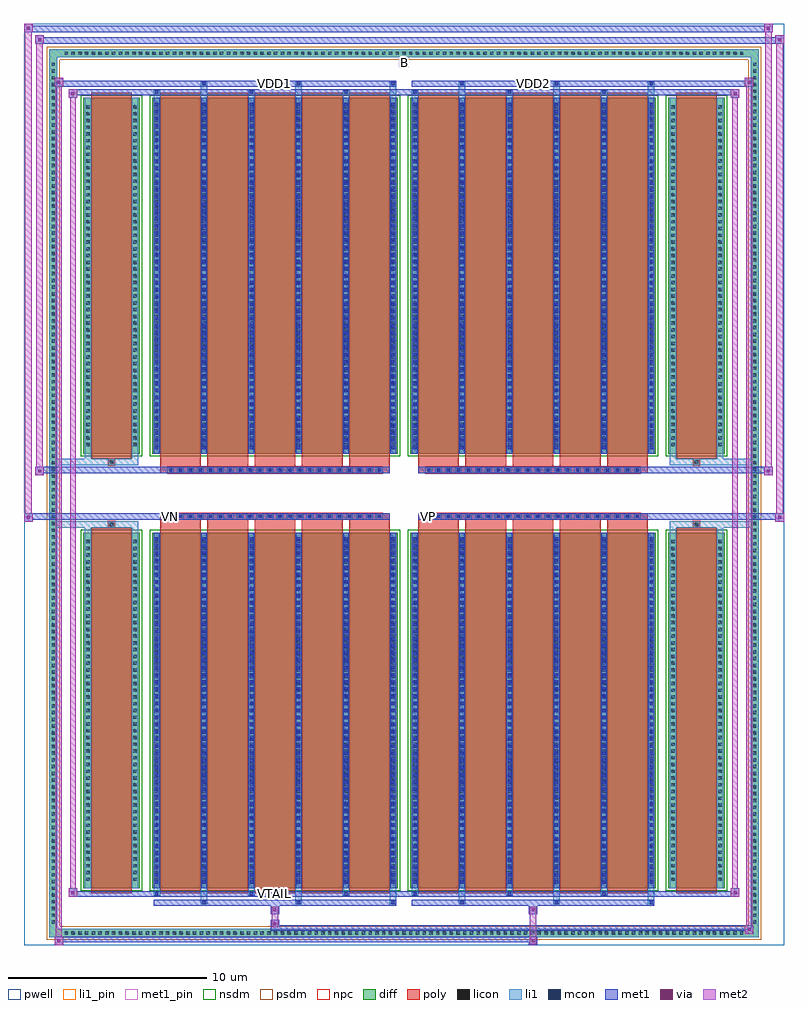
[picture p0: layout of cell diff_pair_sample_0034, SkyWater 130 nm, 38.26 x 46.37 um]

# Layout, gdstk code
import gdstk
lib = gdstk.Library(unit=1e-6, precision=5e-09)
def R(c, l, rs):  # rectangles x0, y0, x1, y1
    for r in rs: c.add(gdstk.rectangle(r[:2], r[2:], *l))
def A(c, l, x, y, w, h, nx, ny, dx, dy):  # array of equal rectangles
    R(c, l, [(x+i*dx, y+j*dy, x+i*dx+w, y+j*dy+h) for i in range(nx) for j in range(ny)])
def P(c, l, *ps):  # polygons
    for p in ps: c.add(gdstk.Polygon(p, *l))
pwell = (64, 44)
diff = (65, 20)
poly = (66, 20)
licon = (66, 44)
li1_pin = (67, 16)
li1 = (67, 20)
mcon = (67, 44)
met1_pin = (68, 16)
met1 = (68, 20)
via = (68, 44)
met2 = (69, 20)
nsdm = (93, 44)
psdm = (94, 20)
npc = (95, 20)

diff_pair_sample_0034 = lib.new_cell('diff_pair_sample_0034')
R(diff_pair_sample_0034, pwell, [(-19.13,-22.75,19.13,23.62), (-16.45,-20.94,-0.01,-0.8), (0.01,-20.94,16.45,-0.8), (-16.45,0.8,-0.01,20.94), (0.01,0.8,16.45,20.94)])
A(diff_pair_sample_0034, diff, -17.205, -22.35, 0.41, 0.41, 101, 2, 0.34, 44.29)
A(diff_pair_sample_0034, diff, -17.86, -21.795, 0.41, 0.41, 1, 128, 0, 0.34)
A(diff_pair_sample_0034, diff, 17.45, -21.795, 0.41, 0.41, 1, 128, 0, 0.34)
R(diff_pair_sample_0034, diff, [(-17.205,-22.35,17.205,-21.94), (-17.86,-21.795,-17.45,21.795), (17.45,-21.795,17.86,21.795), (-16.14,-19.895,-13.31,-1.985), (-12.67,-19.895,-0.32,-1.985), (0.32,-19.895,12.67,-1.985), (13.31,-19.895,16.14,-1.985), (-16.14,1.985,-13.31,19.895), (-12.67,1.985,-0.32,19.895), (0.32,1.985,12.67,19.895), (13.31,1.985,16.14,19.895), (-17.205,21.94,17.205,22.35)])
P(diff_pair_sample_0034, diff, [(17.86,22.35),(-17.86,22.35),(-17.86,-21.94),(-17.45,-21.94),(-17.45,21.94),(17.45,21.94),(17.45,-21.94),(-17.45,-21.94),(-17.86,-21.94),(-17.86,-22.35),(17.86,-22.35)])
A(diff_pair_sample_0034, poly, -12.28, -20.145, 2.05, 18.41, 5, 2, 2.38, 21.88)
A(diff_pair_sample_0034, poly, 0.71, -20.145, 2.05, 18.41, 5, 2, 2.38, 21.88)
A(diff_pair_sample_0034, poly, -12.28, -1.735, 2.05, 0.405, 5, 2, 2.38, 3.065)
A(diff_pair_sample_0034, poly, 0.71, -1.735, 2.05, 0.405, 5, 2, 2.38, 3.065)
A(diff_pair_sample_0034, poly, -11.91, -1.33, 0.33, 0.33, 22, 2, 0.5, 2.33)
A(diff_pair_sample_0034, poly, 1.08, -1.33, 0.33, 0.33, 22, 2, 0.5, 2.33)
R(diff_pair_sample_0034, poly, [(-15.75,-20.145,-13.7,-1.735), (13.7,-20.145,15.75,-1.735), (-14.89,-1.735,-14.56,-1.405), (-14.89,-1.735,-14.56,-1.405), (14.56,-1.735,14.89,-1.405), (14.56,-1.735,14.89,-1.405), (-12.28,-1.33,-0.71,-1), (0.71,-1.33,12.28,-1), (-12.28,1,-0.71,1.33), (0.71,1,12.28,1.33), (-14.89,1.405,-14.56,1.735), (-14.89,1.405,-14.56,1.735), (14.56,1.405,14.89,1.735), (14.56,1.405,14.89,1.735), (-15.75,1.735,-13.7,20.145), (13.7,1.735,15.75,20.145)])
A(diff_pair_sample_0034, licon, -17.085, -22.23, 0.17, 0.17, 101, 2, 0.34, 44.29)
A(diff_pair_sample_0034, licon, -17.74, -21.675, 0.17, 0.17, 1, 128, 0, 0.34)
A(diff_pair_sample_0034, licon, 17.57, -21.675, 0.17, 0.17, 1, 128, 0, 0.34)
A(diff_pair_sample_0034, licon, -16, -19.525, 0.17, 0.17, 1, 51, 0, 0.34)
A(diff_pair_sample_0034, licon, -13.62, -19.525, 0.17, 0.17, 1, 51, 0, 0.34)
A(diff_pair_sample_0034, licon, -12.53, -19.525, 0.17, 0.17, 6, 51, 2.38, 0.34)
A(diff_pair_sample_0034, licon, 0.46, -19.525, 0.17, 0.17, 6, 51, 2.38, 0.34)
A(diff_pair_sample_0034, licon, 13.45, -19.525, 0.17, 0.17, 1, 51, 0, 0.34)
A(diff_pair_sample_0034, licon, 15.83, -19.525, 0.17, 0.17, 1, 51, 0, 0.34)
A(diff_pair_sample_0034, licon, -11.83, -1.25, 0.17, 0.17, 22, 2, 0.5, 2.33)
A(diff_pair_sample_0034, licon, 1.16, -1.25, 0.17, 0.17, 22, 2, 0.5, 2.33)
A(diff_pair_sample_0034, licon, -16, 2.355, 0.17, 0.17, 1, 51, 0, 0.34)
A(diff_pair_sample_0034, licon, -13.62, 2.355, 0.17, 0.17, 1, 51, 0, 0.34)
A(diff_pair_sample_0034, licon, -12.53, 2.355, 0.17, 0.17, 6, 51, 2.38, 0.34)
A(diff_pair_sample_0034, licon, 0.46, 2.355, 0.17, 0.17, 6, 51, 2.38, 0.34)
A(diff_pair_sample_0034, licon, 13.45, 2.355, 0.17, 0.17, 1, 51, 0, 0.34)
A(diff_pair_sample_0034, licon, 15.83, 2.355, 0.17, 0.17, 1, 51, 0, 0.34)
R(diff_pair_sample_0034, licon, [(-14.81,-1.655,-14.64,-1.485), (14.64,-1.655,14.81,-1.485), (-14.81,1.485,-14.64,1.655), (14.64,1.485,14.81,1.655)])
R(diff_pair_sample_0034, li1_pin, [(-0.25,21.44,0.25,21.94)])
A(diff_pair_sample_0034, li1, -17.165, -22.31, 0.33, 0.33, 101, 2, 0.34, 44.29)
A(diff_pair_sample_0034, li1, -17.82, -21.755, 0.33, 0.33, 1, 128, 0, 0.34)
A(diff_pair_sample_0034, li1, 17.49, -21.755, 0.33, 0.33, 1, 128, 0, 0.34)
A(diff_pair_sample_0034, li1, -10.23, -20.7, 0.33, 0.805, 3, 2, 4.76, 40.595)
A(diff_pair_sample_0034, li1, -10.15, -20.7, 0.17, 0.17, 3, 2, 4.76, 41.23)
A(diff_pair_sample_0034, li1, 2.76, -20.7, 0.33, 0.805, 3, 2, 4.76, 40.595)
A(diff_pair_sample_0034, li1, 2.84, -20.7, 0.17, 0.17, 3, 2, 4.76, 41.23)
A(diff_pair_sample_0034, li1, -12.61, -20.27, 0.33, 0.375, 3, 2, 4.76, 40.165)
A(diff_pair_sample_0034, li1, -12.53, -20.27, 0.17, 0.17, 3, 2, 4.76, 40.37)
A(diff_pair_sample_0034, li1, 0.38, -20.27, 0.33, 0.375, 3, 2, 4.76, 40.165)
A(diff_pair_sample_0034, li1, 0.46, -20.27, 0.17, 0.17, 3, 2, 4.76, 40.37)
A(diff_pair_sample_0034, li1, -12.61, -19.895, 0.33, 17.91, 6, 2, 2.38, 21.88)
A(diff_pair_sample_0034, li1, 0.38, -19.895, 0.33, 17.91, 6, 2, 2.38, 21.88)
A(diff_pair_sample_0034, li1, -12.53, -19.665, 0.17, 0.17, 6, 49, 2.38, 0.36)
A(diff_pair_sample_0034, li1, -12.53, -19.665, 0.17, 17.45, 6, 2, 2.38, 21.88)
A(diff_pair_sample_0034, li1, 0.46, -19.665, 0.17, 0.17, 6, 49, 2.38, 0.36)
A(diff_pair_sample_0034, li1, 0.46, -19.665, 0.17, 17.45, 6, 2, 2.38, 21.88)
A(diff_pair_sample_0034, li1, -16.08, -19.605, 0.33, 0.33, 1, 51, 0, 0.34)
A(diff_pair_sample_0034, li1, -13.7, -19.605, 0.33, 0.33, 1, 51, 0, 0.34)
A(diff_pair_sample_0034, li1, -12.61, -19.605, 0.33, 0.33, 6, 51, 2.38, 0.34)
A(diff_pair_sample_0034, li1, 0.38, -19.605, 0.33, 0.33, 6, 51, 2.38, 0.34)
A(diff_pair_sample_0034, li1, 13.37, -19.605, 0.33, 0.33, 1, 51, 0, 0.34)
A(diff_pair_sample_0034, li1, 15.75, -19.605, 0.33, 0.33, 1, 51, 0, 0.34)
A(diff_pair_sample_0034, li1, -11.91, -1.33, 0.33, 0.33, 22, 2, 0.5, 2.33)
A(diff_pair_sample_0034, li1, 1.08, -1.33, 0.33, 0.33, 22, 2, 0.5, 2.33)
A(diff_pair_sample_0034, li1, -12.53, 2.215, 0.17, 0.17, 6, 49, 2.38, 0.36)
A(diff_pair_sample_0034, li1, 0.46, 2.215, 0.17, 0.17, 6, 49, 2.38, 0.36)
A(diff_pair_sample_0034, li1, -16.08, 2.275, 0.33, 0.33, 1, 51, 0, 0.34)
A(diff_pair_sample_0034, li1, -13.7, 2.275, 0.33, 0.33, 1, 51, 0, 0.34)
A(diff_pair_sample_0034, li1, -12.61, 2.275, 0.33, 0.33, 6, 51, 2.38, 0.34)
A(diff_pair_sample_0034, li1, 0.38, 2.275, 0.33, 0.33, 6, 51, 2.38, 0.34)
A(diff_pair_sample_0034, li1, 13.37, 2.275, 0.33, 0.33, 1, 51, 0, 0.34)
A(diff_pair_sample_0034, li1, 15.75, 2.275, 0.33, 0.33, 1, 51, 0, 0.34)
R(diff_pair_sample_0034, li1, [(-17.86,-22.35,-17.45,-21.94), (-17.86,-22.35,-17.45,-21.94), (-17.45,-22.35,17.45,-21.94), (17.45,-22.35,17.86,-21.94), (17.45,-22.35,17.86,-21.94), (-17.86,-21.94,-17.45,21.94), (17.45,-21.94,17.86,21.94), (-16.08,-19.895,-15.75,-1.985), (-13.7,-19.895,-13.37,-1.985), (13.37,-19.895,13.7,-1.985), (15.75,-19.895,16.08,-1.985), (-16.08,-1.985,-15.75,-1.405), (-13.7,-1.985,-13.37,-1.405), (13.37,-1.985,13.7,-1.405), (15.75,-1.985,16.08,-1.405), (-17.86,-1.735,-14.89,-1.405), (-16.08,-1.735,-14.89,-1.405), (-14.89,-1.735,-14.56,-1.405), (-14.56,-1.735,-13.37,-1.405), (13.37,-1.735,14.56,-1.405), (14.56,-1.735,14.89,-1.405), (14.56,-1.735,17.86,-1.405), (14.89,-1.735,16.08,-1.405), (-17.86,1.405,-14.89,1.735), (-16.08,1.405,-14.89,1.735), (-16.08,1.405,-15.75,1.985), (-14.89,1.405,-14.56,1.735), (-14.56,1.405,-13.37,1.735), (-13.7,1.405,-13.37,1.985), (13.37,1.405,14.56,1.735), (13.37,1.405,13.7,1.985), (14.56,1.405,14.89,1.735), (14.56,1.405,17.86,1.735), (14.89,1.405,16.08,1.735), (15.75,1.405,16.08,1.985), (-16.08,1.985,-15.75,19.895), (-13.7,1.985,-13.37,19.895), (13.37,1.985,13.7,19.895), (15.75,1.985,16.08,19.895), (-17.86,21.94,-17.45,22.35), (-17.86,21.94,-17.45,22.35), (-17.45,21.94,17.45,22.35), (17.45,21.94,17.86,22.35), (17.45,21.94,17.86,22.35)])
A(diff_pair_sample_0034, mcon, -10.15, -20.7, 0.17, 0.17, 3, 2, 4.76, 41.23)
A(diff_pair_sample_0034, mcon, 2.84, -20.7, 0.17, 0.17, 3, 2, 4.76, 41.23)
A(diff_pair_sample_0034, mcon, -12.53, -20.27, 0.17, 0.17, 3, 2, 4.76, 40.37)
A(diff_pair_sample_0034, mcon, 0.46, -20.27, 0.17, 0.17, 3, 2, 4.76, 40.37)
A(diff_pair_sample_0034, mcon, -12.53, -19.665, 0.17, 0.17, 6, 49, 2.38, 0.36)
A(diff_pair_sample_0034, mcon, 0.46, -19.665, 0.17, 0.17, 6, 49, 2.38, 0.36)
A(diff_pair_sample_0034, mcon, -11.83, -1.25, 0.17, 0.17, 22, 2, 0.5, 2.33)
A(diff_pair_sample_0034, mcon, 1.16, -1.25, 0.17, 0.17, 22, 2, 0.5, 2.33)
A(diff_pair_sample_0034, mcon, -12.53, 2.215, 0.17, 0.17, 6, 49, 2.38, 0.36)
A(diff_pair_sample_0034, mcon, 0.46, 2.215, 0.17, 0.17, 6, 49, 2.38, 0.36)
R(diff_pair_sample_0034, met1_pin, [(-6.63,-20.31,-6.36,-20.04), (-11.88,-1.29,-11.61,-1.02), (1.11,-1.29,1.38,-1.02), (-6.63,20.49,-6.36,20.76), (6.36,20.49,6.63,20.76)])
A(diff_pair_sample_0034, met1, -10.21, -20.76, 0.29, 0.29, 3, 2, 4.76, 41.23)
A(diff_pair_sample_0034, met1, 2.78, -20.76, 0.29, 0.29, 3, 2, 4.76, 41.23)
A(diff_pair_sample_0034, met1, -12.59, -20.33, 0.29, 0.29, 3, 2, 4.76, 40.37)
A(diff_pair_sample_0034, met1, 0.4, -20.33, 0.29, 0.29, 3, 2, 4.76, 40.37)
A(diff_pair_sample_0034, met1, -12.59, -19.895, 0.29, 17.91, 6, 2, 2.38, 21.88)
A(diff_pair_sample_0034, met1, 0.4, -19.895, 0.29, 17.91, 6, 2, 2.38, 21.88)
A(diff_pair_sample_0034, met1, -12.59, -19.725, 0.29, 0.29, 6, 49, 2.38, 0.36)
A(diff_pair_sample_0034, met1, 0.4, -19.725, 0.29, 0.29, 6, 49, 2.38, 0.36)
A(diff_pair_sample_0034, met1, -11.89, -1.31, 0.29, 0.29, 22, 2, 0.5, 2.33)
A(diff_pair_sample_0034, met1, 1.1, -1.31, 0.29, 0.29, 22, 2, 0.5, 2.33)
A(diff_pair_sample_0034, met1, -12.59, 2.155, 0.29, 0.29, 6, 49, 2.38, 0.36)
A(diff_pair_sample_0034, met1, 0.4, 2.155, 0.29, 0.29, 6, 49, 2.38, 0.36)
R(diff_pair_sample_0034, met1, [(-17.59,-22.75,-17.16,-22.32), (6.28,-22.75,6.71,-22.32), (-17.59,-22.61,6.71,-22.32), (17.16,-22.18,17.59,-21.75), (-6.71,-22.04,17.59,-21.75), (-6.71,-21.9,-6.28,-21.47), (-6.71,-21.19,-6.28,-20.76), (6.28,-21.19,6.71,-20.76), (-12.59,-20.76,-0.4,-20.47), (0.4,-20.76,12.59,-20.47), (-16.88,-20.33,-16.45,-19.9), (-16.88,-20.33,-12.59,-20.04), (-12.59,-20.33,-0.4,-20.04), (-0.4,-20.33,0.4,-20.04), (0.4,-20.33,12.59,-20.04), (12.59,-20.33,16.88,-20.04), (16.45,-20.33,16.88,-19.9), (-19.13,-1.43,-18.7,-1), (18.7,-1.43,19.13,-1), (-19.13,-1.33,-0.71,-1), (-12.28,-1.33,-0.71,-1), (0.71,-1.33,12.28,-1), (0.71,-1.33,19.13,-1), (-18.56,0.9,-18.13,1.33), (18.13,0.9,18.56,1.33), (-18.56,1,-12.28,1.33), (-12.28,1,-0.71,1.33), (0.71,1,12.28,1.33), (12.28,1,18.56,1.33), (-16.88,19.9,-16.45,20.33), (16.45,19.9,16.88,20.33), (-16.88,20.04,-12.59,20.33), (-12.59,20.04,-0.4,20.33), (-0.4,20.04,0.4,20.33), (0.4,20.04,12.59,20.33), (12.59,20.04,16.88,20.33), (-17.59,20.47,-17.16,20.9), (-17.59,20.47,-12.59,20.76), (-12.59,20.47,-0.4,20.76), (0.4,20.47,12.59,20.76), (12.59,20.47,17.59,20.76), (17.16,20.47,17.59,20.9), (-18.56,22.62,-18.13,23.05), (-18.56,22.62,-16.45,22.95), (-16.45,22.62,16.45,22.95), (16.45,22.62,19.13,22.95), (18.7,22.62,19.13,23.05), (-19.13,23.19,-18.7,23.62), (-19.13,23.19,-16.45,23.52), (-16.45,23.19,16.45,23.52), (16.45,23.19,18.56,23.52), (18.13,23.19,18.56,23.62)])
R(diff_pair_sample_0034, via, [(-17.45,-22.61,-17.3,-22.46), (6.42,-22.61,6.57,-22.46), (17.3,-22.04,17.45,-21.89), (-6.57,-21.76,-6.42,-21.61), (-6.57,-21.05,-6.42,-20.9), (6.42,-21.05,6.57,-20.9), (-16.74,-20.19,-16.59,-20.04), (16.59,-20.19,16.74,-20.04), (-18.99,-1.29,-18.84,-1.14), (18.84,-1.29,18.99,-1.14), (-18.42,1.04,-18.27,1.19), (18.27,1.04,18.42,1.19), (-16.74,20.04,-16.59,20.19), (16.59,20.04,16.74,20.19), (-17.45,20.61,-17.3,20.76), (17.3,20.61,17.45,20.76), (-18.42,22.76,-18.27,22.91), (18.84,22.76,18.99,22.91), (-18.99,23.33,-18.84,23.48), (18.27,23.33,18.42,23.48)])
R(diff_pair_sample_0034, met2, [(-17.59,-22.75,-17.16,-22.32), (-17.52,-22.75,-17.23,20.9), (-17.23,-22.75,-17.16,-22.32), (-17.54,-22.7,-17.21,-22.37), (6.33,-22.7,6.66,-22.37), (6.33,-22.37,6.66,-21.14), (17.16,-22.18,17.59,-21.75), (17.23,-22.18,17.52,20.9), (17.52,-22.18,17.59,-21.75), (17.21,-22.13,17.54,-21.8), (-6.66,-21.85,-6.33,-21.52), (-6.66,-21.52,-6.33,-21.14), (-6.66,-21.14,-6.33,-20.81), (6.33,-21.14,6.66,-20.81), (-16.88,-20.33,-16.45,-19.9), (-16.81,-20.33,-16.52,20.33), (-16.52,-20.33,-16.45,-19.9), (16.45,-20.33,16.88,-19.9), (16.52,-20.33,16.81,20.33), (16.81,-20.33,16.88,-19.9), (-16.83,-20.28,-16.5,-19.95), (16.5,-20.28,16.83,-19.95), (-19.13,-1.43,-18.7,-1), (-19.08,-1.43,-18.75,23.62), (-18.75,-1.43,-18.7,-1), (18.7,-1.43,19.13,-1), (18.75,-1.43,19.08,23.05), (19.08,-1.43,19.13,-1), (-19.08,-1.38,-18.75,-1.05), (18.75,-1.38,19.08,-1.05), (-18.56,0.9,-18.13,1.33), (-18.51,0.9,-18.18,23.05), (-18.18,0.9,-18.13,1.33), (18.13,0.9,18.56,1.33), (18.18,0.9,18.51,23.62), (18.51,0.9,18.56,1.33), (-18.51,0.95,-18.18,1.28), (18.18,0.95,18.51,1.28), (-16.88,19.9,-16.45,20.33), (-16.52,19.9,-16.45,20.33), (16.45,19.9,16.88,20.33), (16.81,19.9,16.88,20.33), (-16.83,19.95,-16.5,20.28), (16.5,19.95,16.83,20.28), (-17.59,20.47,-17.16,20.9), (-17.23,20.47,-17.16,20.9), (17.16,20.47,17.59,20.9), (17.52,20.47,17.59,20.9), (-17.54,20.52,-17.21,20.85), (17.21,20.52,17.54,20.85), (-18.56,22.62,-18.13,23.05), (-18.18,22.62,-18.13,23.05), (18.7,22.62,19.13,23.05), (19.08,22.62,19.13,23.05), (-18.51,22.67,-18.18,23), (18.75,22.67,19.08,23), (-19.13,23.19,-18.7,23.62), (-18.75,23.19,-18.7,23.62), (18.13,23.19,18.56,23.62), (18.51,23.19,18.56,23.62), (-19.08,23.24,-18.75,23.57), (18.18,23.24,18.51,23.57)])
R(diff_pair_sample_0034, nsdm, [(-16.27,-20.025,-13.18,-1.855), (-12.8,-20.025,-0.19,-1.855), (0.19,-20.025,12.8,-1.855), (13.18,-20.025,16.27,-1.855), (-16.27,1.855,-13.18,20.025), (-12.8,1.855,-0.19,20.025), (0.19,1.855,12.8,20.025), (13.18,1.855,16.27,20.025)])
P(diff_pair_sample_0034, psdm, [(17.99,22.48),(-17.99,22.48),(-17.99,-21.81),(-17.32,-21.81),(-17.32,21.81),(17.32,21.81),(17.32,-21.81),(-17.32,-21.81),(-17.99,-21.81),(-17.99,-22.48),(17.99,-22.48)])
A(diff_pair_sample_0034, npc, -11.93, -1.35, 0.37, 0.37, 22, 2, 0.5, 2.33)
A(diff_pair_sample_0034, npc, 1.06, -1.35, 0.37, 0.37, 22, 2, 0.5, 2.33)
R(diff_pair_sample_0034, npc, [(-14.91,-1.755,-14.54,-1.385), (14.54,-1.755,14.91,-1.385), (-11.93,-1.35,-11.06,-0.98), (-11.93,-1.35,-11.06,-0.98), (-11.43,-1.35,-10.56,-0.98), (-11.43,-1.35,-10.56,-0.98), (-10.93,-1.35,-10.06,-0.98), (-10.93,-1.35,-10.06,-0.98), (-10.43,-1.35,-9.56,-0.98), (-10.43,-1.35,-9.56,-0.98), (-9.93,-1.35,-9.06,-0.98), (-9.93,-1.35,-9.06,-0.98), (-9.43,-1.35,-8.56,-0.98), (-9.43,-1.35,-8.56,-0.98), (-8.93,-1.35,-8.06,-0.98), (-8.93,-1.35,-8.06,-0.98), (-8.43,-1.35,-7.56,-0.98), (-8.43,-1.35,-7.56,-0.98), (-7.93,-1.35,-7.06,-0.98), (-7.93,-1.35,-7.06,-0.98), (-7.43,-1.35,-6.56,-0.98), (-7.43,-1.35,-6.56,-0.98), (-6.93,-1.35,-6.06,-0.98), (-6.93,-1.35,-6.06,-0.98), (-6.43,-1.35,-5.56,-0.98), (-6.43,-1.35,-5.56,-0.98), (-5.93,-1.35,-5.06,-0.98), (-5.93,-1.35,-5.06,-0.98), (-5.43,-1.35,-4.56,-0.98), (-5.43,-1.35,-4.56,-0.98), (-4.93,-1.35,-4.06,-0.98), (-4.93,-1.35,-4.06,-0.98), (-4.43,-1.35,-3.56,-0.98), (-4.43,-1.35,-3.56,-0.98), (-3.93,-1.35,-3.06,-0.98), (-3.93,-1.35,-3.06,-0.98), (-3.43,-1.35,-2.56,-0.98), (-3.43,-1.35,-2.56,-0.98), (-2.93,-1.35,-2.06,-0.98), (-2.93,-1.35,-2.06,-0.98), (-2.43,-1.35,-1.56,-0.98), (-2.43,-1.35,-1.56,-0.98), (-1.93,-1.35,-1.06,-0.98), (-1.93,-1.35,-1.06,-0.98), (1.06,-1.35,1.93,-0.98), (1.06,-1.35,1.93,-0.98), (1.56,-1.35,2.43,-0.98), (1.56,-1.35,2.43,-0.98), (2.06,-1.35,2.93,-0.98), (2.06,-1.35,2.93,-0.98), (2.56,-1.35,3.43,-0.98), (2.56,-1.35,3.43,-0.98), (3.06,-1.35,3.93,-0.98), (3.06,-1.35,3.93,-0.98), (3.56,-1.35,4.43,-0.98), (3.56,-1.35,4.43,-0.98), (4.06,-1.35,4.93,-0.98), (4.06,-1.35,4.93,-0.98), (4.56,-1.35,5.43,-0.98), (4.56,-1.35,5.43,-0.98), (5.06,-1.35,5.93,-0.98), (5.06,-1.35,5.93,-0.98), (5.56,-1.35,6.43,-0.98), (5.56,-1.35,6.43,-0.98), (6.06,-1.35,6.93,-0.98), (6.06,-1.35,6.93,-0.98), (6.56,-1.35,7.43,-0.98), (6.56,-1.35,7.43,-0.98), (7.06,-1.35,7.93,-0.98), (7.06,-1.35,7.93,-0.98), (7.56,-1.35,8.43,-0.98), (7.56,-1.35,8.43,-0.98), (8.06,-1.35,8.93,-0.98), (8.06,-1.35,8.93,-0.98), (8.56,-1.35,9.43,-0.98), (8.56,-1.35,9.43,-0.98), (9.06,-1.35,9.93,-0.98), (9.06,-1.35,9.93,-0.98), (9.56,-1.35,10.43,-0.98), (9.56,-1.35,10.43,-0.98), (10.06,-1.35,10.93,-0.98), (10.06,-1.35,10.93,-0.98), (10.56,-1.35,11.43,-0.98), (10.56,-1.35,11.43,-0.98), (11.06,-1.35,11.93,-0.98), (11.06,-1.35,11.93,-0.98), (-11.93,0.98,-11.06,1.35), (-11.93,0.98,-11.06,1.35), (-11.43,0.98,-10.56,1.35), (-11.43,0.98,-10.56,1.35), (-10.93,0.98,-10.06,1.35), (-10.93,0.98,-10.06,1.35), (-10.43,0.98,-9.56,1.35), (-10.43,0.98,-9.56,1.35), (-9.93,0.98,-9.06,1.35), (-9.93,0.98,-9.06,1.35), (-9.43,0.98,-8.56,1.35), (-9.43,0.98,-8.56,1.35), (-8.93,0.98,-8.06,1.35), (-8.93,0.98,-8.06,1.35), (-8.43,0.98,-7.56,1.35), (-8.43,0.98,-7.56,1.35), (-7.93,0.98,-7.06,1.35), (-7.93,0.98,-7.06,1.35), (-7.43,0.98,-6.56,1.35), (-7.43,0.98,-6.56,1.35), (-6.93,0.98,-6.06,1.35), (-6.93,0.98,-6.06,1.35), (-6.43,0.98,-5.56,1.35), (-6.43,0.98,-5.56,1.35), (-5.93,0.98,-5.06,1.35), (-5.93,0.98,-5.06,1.35), (-5.43,0.98,-4.56,1.35), (-5.43,0.98,-4.56,1.35), (-4.93,0.98,-4.06,1.35), (-4.93,0.98,-4.06,1.35), (-4.43,0.98,-3.56,1.35), (-4.43,0.98,-3.56,1.35), (-3.93,0.98,-3.06,1.35), (-3.93,0.98,-3.06,1.35), (-3.43,0.98,-2.56,1.35), (-3.43,0.98,-2.56,1.35), (-2.93,0.98,-2.06,1.35), (-2.93,0.98,-2.06,1.35), (-2.43,0.98,-1.56,1.35), (-2.43,0.98,-1.56,1.35), (-1.93,0.98,-1.06,1.35), (-1.93,0.98,-1.06,1.35), (1.06,0.98,1.93,1.35), (1.06,0.98,1.93,1.35), (1.56,0.98,2.43,1.35), (1.56,0.98,2.43,1.35), (2.06,0.98,2.93,1.35), (2.06,0.98,2.93,1.35), (2.56,0.98,3.43,1.35), (2.56,0.98,3.43,1.35), (3.06,0.98,3.93,1.35), (3.06,0.98,3.93,1.35), (3.56,0.98,4.43,1.35), (3.56,0.98,4.43,1.35), (4.06,0.98,4.93,1.35), (4.06,0.98,4.93,1.35), (4.56,0.98,5.43,1.35), (4.56,0.98,5.43,1.35), (5.06,0.98,5.93,1.35), (5.06,0.98,5.93,1.35), (5.56,0.98,6.43,1.35), (5.56,0.98,6.43,1.35), (6.06,0.98,6.93,1.35), (6.06,0.98,6.93,1.35), (6.56,0.98,7.43,1.35), (6.56,0.98,7.43,1.35), (7.06,0.98,7.93,1.35), (7.06,0.98,7.93,1.35), (7.56,0.98,8.43,1.35), (7.56,0.98,8.43,1.35), (8.06,0.98,8.93,1.35), (8.06,0.98,8.93,1.35), (8.56,0.98,9.43,1.35), (8.56,0.98,9.43,1.35), (9.06,0.98,9.93,1.35), (9.06,0.98,9.93,1.35), (9.56,0.98,10.43,1.35), (9.56,0.98,10.43,1.35), (10.06,0.98,10.93,1.35), (10.06,0.98,10.93,1.35), (10.56,0.98,11.43,1.35), (10.56,0.98,11.43,1.35), (11.06,0.98,11.93,1.35), (11.06,0.98,11.93,1.35), (-14.91,1.385,-14.54,1.755), (14.54,1.385,14.91,1.755)])
diff_pair_sample_0034.add(gdstk.Label('VTAIL', (-6.495,-20.175), layer=68, texttype=5))
diff_pair_sample_0034.add(gdstk.Label('VN', (-11.745,-1.155), layer=68, texttype=5))
diff_pair_sample_0034.add(gdstk.Label('VP', (1.245,-1.155), layer=68, texttype=5))
diff_pair_sample_0034.add(gdstk.Label('B', (0,21.69), layer=67, texttype=5))
diff_pair_sample_0034.add(gdstk.Label('VDD2', (6.495,20.625), layer=68, texttype=5))
diff_pair_sample_0034.add(gdstk.Label('VDD1', (-6.495,20.625), layer=68, texttype=5))

lib.write_gds('diff_pair_sample_0034.gds')
